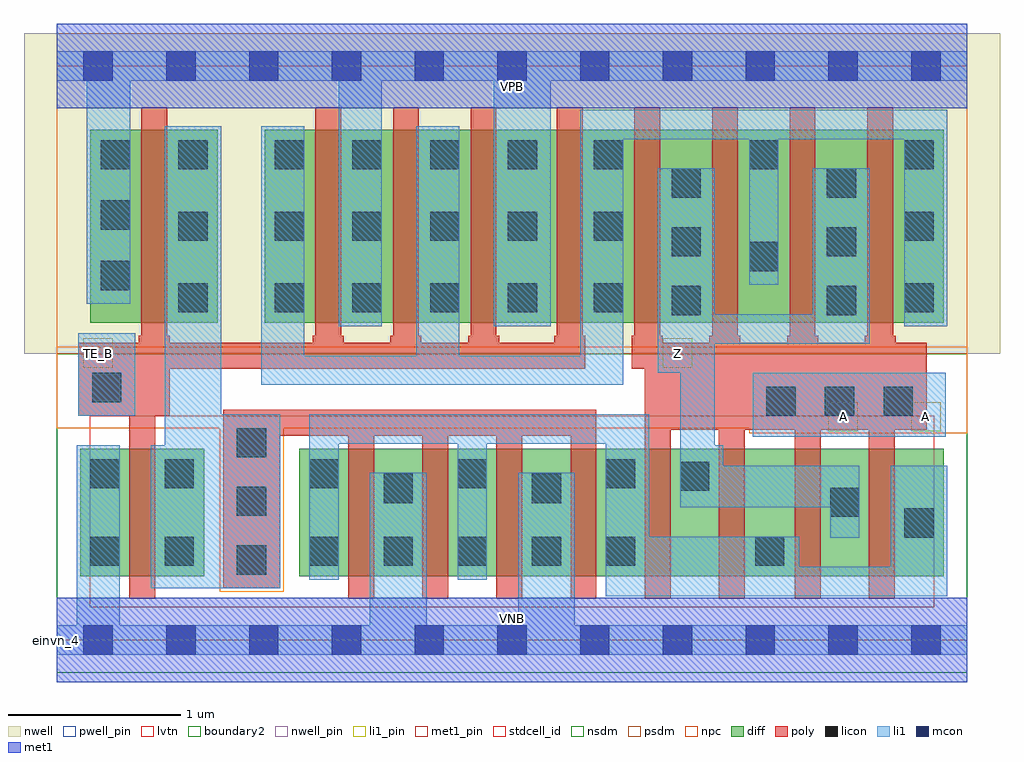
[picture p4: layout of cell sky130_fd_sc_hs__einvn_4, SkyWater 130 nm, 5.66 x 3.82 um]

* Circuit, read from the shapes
.subckt sky130_fd_sc_hs__einvn_4 A TE_B VGND VNB VPB VPWR Z
XM1 n1 TE_B VGND VNB sky130_fd_pr__nfet_01v8_lvt w=0.74 l=0.15
XM2 VGND n1 n2 VNB sky130_fd_pr__nfet_01v8_lvt w=0.74 l=0.15 m=4
XM3 Z A n2 VNB sky130_fd_pr__nfet_01v8_lvt w=0.74 l=0.15 m=4
XM4 n1 TE_B VPWR VPB sky130_fd_pr__pfet_01v8 w=1.12 l=0.15
XM5 VPWR TE_B n3 VPB sky130_fd_pr__pfet_01v8 w=1.12 l=0.15 m=4
XM6 Z A n3 VPB sky130_fd_pr__pfet_01v8 w=1.12 l=0.15 m=4
.ends

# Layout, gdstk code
import gdstk
lib = gdstk.Library(unit=1e-6, precision=1e-09)
def R(c, l, rs):  # rectangles x0, y0, x1, y1
    for r in rs: c.add(gdstk.rectangle(r[:2], r[2:], *l))
def A(c, l, x, y, w, h, nx, ny, dx, dy):  # array of equal rectangles
    R(c, l, [(x+i*dx, y+j*dy, x+i*dx+w, y+j*dy+h) for i in range(nx) for j in range(ny)])
def P(c, l, *ps):  # polygons
    for p in ps: c.add(gdstk.Polygon(p, *l))
nwell_pin = (64, 16)
nwell = (64, 20)
diff = (65, 20)
poly = (66, 20)
licon = (66, 44)
li1_pin = (67, 16)
li1 = (67, 20)
mcon = (67, 44)
met1_pin = (68, 16)
met1 = (68, 20)
stdcell_id = (81, 4)
nsdm = (93, 44)
psdm = (94, 20)
npc = (95, 20)
pwell_pin = (122, 16)
lvtn = (125, 44)
boundary2 = (236, 0)

sky130_fd_sc_hs__einvn_4 = lib.new_cell('sky130_fd_sc_hs__einvn_4')
R(sky130_fd_sc_hs__einvn_4, nwell_pin, [(0,3.085,5.28,3.33)])
R(sky130_fd_sc_hs__einvn_4, nwell, [(-0.19,1.66,5.47,3.52)])
R(sky130_fd_sc_hs__einvn_4, diff, [(0.135,0.37,0.855,1.11), (1.405,0.37,5.145,1.11), (0.195,1.84,0.935,2.96), (1.205,1.84,5.145,2.96)])
P(sky130_fd_sc_hs__einvn_4, poly, [(3.065,1.765),(3.05,1.765),(3.05,3.09),(2.9,3.09),(2.9,1.765),(2.885,1.765),(2.885,1.725),(2.565,1.725),(2.565,1.765),(2.55,1.765),(2.55,3.09),(2.4,3.09),(2.4,1.765),(2.385,1.765),(2.385,1.725),(2.115,1.725),(2.115,1.765),(2.1,1.765),(2.1,3.09),(1.95,3.09),(1.95,1.765),(1.935,1.765),(1.935,1.725),(1.665,1.725),(1.665,1.765),(1.65,1.765),(1.65,3.09),(1.5,3.09),(1.5,1.765),(1.485,1.765),(1.485,1.725),(0.655,1.725),(0.655,1.765),(0.64,1.765),(0.64,3.09),(0.49,3.09),(0.49,1.765),(0.475,1.765),(0.475,1.725),(0.125,1.725),(0.125,1.3),(0.42,1.3),(0.42,0.24),(0.57,0.24),(0.57,1.3),(0.655,1.3),(0.655,1.575),(3.065,1.575)],
  [(3.13,1.335),(0.965,1.335),(0.965,0.3),(1.295,0.3),(1.295,1.185),(1.69,1.185),(1.69,0.24),(1.84,0.24),(1.84,1.185),(2.12,1.185),(2.12,0.24),(2.27,0.24),(2.27,1.185),(2.55,1.185),(2.55,0.24),(2.7,0.24),(2.7,1.185),(2.98,1.185),(2.98,0.24),(3.13,0.24)],
  [(5.045,1.725),(4.865,1.725),(4.865,1.765),(4.85,1.765),(4.85,3.09),(4.7,3.09),(4.7,1.765),(4.685,1.765),(4.685,1.725),(4.415,1.725),(4.415,1.765),(4.4,1.765),(4.4,3.09),(4.25,3.09),(4.25,1.765),(4.235,1.765),(4.235,1.725),(3.965,1.725),(3.965,1.765),(3.95,1.765),(3.95,3.09),(3.8,3.09),(3.8,1.765),(3.785,1.765),(3.785,1.725),(3.515,1.725),(3.515,1.765),(3.5,1.765),(3.5,3.09),(3.35,3.09),(3.35,1.765),(3.335,1.765),(3.335,1.575),(3.41,1.575),(3.41,0.24),(3.56,0.24),(3.56,1.22),(3.84,1.22),(3.84,0.24),(3.99,0.24),(3.99,1.22),(4.28,1.22),(4.28,0.24),(4.43,0.24),(4.43,1.22),(4.71,1.22),(4.71,0.24),(4.86,0.24),(4.86,1.22),(5.045,1.22)])
A(sky130_fd_sc_hs__einvn_4, licon, 1.045, 0.38, 0.17, 0.17, 1, 3, 0, 0.34)
A(sky130_fd_sc_hs__einvn_4, licon, 1.465, 0.43, 0.17, 0.17, 5, 1, 0.43, 0)
A(sky130_fd_sc_hs__einvn_4, licon, 1.465, 0.88, 0.17, 0.17, 3, 1, 0.86, 0)
A(sky130_fd_sc_hs__einvn_4, licon, 4.115, 1.3, 0.17, 0.17, 3, 1, 0.34, 0)
A(sky130_fd_sc_hs__einvn_4, licon, 3.565, 1.885, 0.17, 0.17, 1, 3, 0, 0.34)
A(sky130_fd_sc_hs__einvn_4, licon, 4.465, 1.885, 0.17, 0.17, 1, 3, 0, 0.34)
A(sky130_fd_sc_hs__einvn_4, licon, 0.705, 1.9, 0.17, 0.17, 1, 3, 0, 0.415)
A(sky130_fd_sc_hs__einvn_4, licon, 1.265, 1.9, 0.17, 0.17, 4, 3, 0.45, 0.415)
A(sky130_fd_sc_hs__einvn_4, licon, 0.255, 2.03, 0.17, 0.17, 1, 3, 0, 0.35)
A(sky130_fd_sc_hs__einvn_4, licon, 3.115, 2.73, 0.17, 0.17, 3, 1, 0.9, 0)
R(sky130_fd_sc_hs__einvn_4, licon, [(0.195,0.43,0.365,0.6), (0.625,0.43,0.795,0.6), (4.05,0.43,4.22,0.6), (4.915,0.595,5.085,0.765), (4.485,0.715,4.655,0.885), (1.895,0.795,2.065,0.965), (2.755,0.795,2.925,0.965), (3.615,0.865,3.785,1.035), (0.195,0.88,0.365,1.05), (0.625,0.88,0.795,1.05), (0.205,1.38,0.375,1.55), (3.115,1.9,3.285,2.07), (4.915,1.9,5.085,2.07), (4.015,2.14,4.185,2.31), (3.115,2.315,3.285,2.485), (4.915,2.315,5.085,2.485)])
R(sky130_fd_sc_hs__einvn_4, li1_pin, [(4.475,1.21,4.645,1.38), (4.955,1.21,5.125,1.38), (0.155,1.58,0.325,1.75), (3.515,1.58,3.685,1.75)])
R(sky130_fd_sc_hs__einvn_4, li1, [(4.035,1.18,5.155,1.55), (0.125,1.3,0.455,1.78)])
P(sky130_fd_sc_hs__einvn_4, li1, [(0,-0.085),(0,0.085),(0.115,0.085),(0.115,1.13),(0.365,1.13),(0.365,0.085),(1.815,0.085),(1.815,0.97),(2.145,0.97),(2.145,0.085),(2.675,0.085),(2.675,0.97),(3.005,0.97),(3.005,0.085),(5.28,0.085),(5.28,-0.085)],
  [(0,3.245),(0,3.415),(5.28,3.415),(5.28,3.245),(2.865,3.245),(2.865,1.82),(2.535,1.82),(2.535,3.245),(1.885,3.245),(1.885,1.82),(1.635,1.82),(1.635,3.245),(0.425,3.245),(0.425,1.95),(0.175,1.95),(0.175,3.245)],
  [(4.915,2.905),(4.185,2.905),(4.185,2.06),(4.015,2.06),(4.015,2.905),(3.285,2.905),(3.285,1.48),(1.185,1.48),(1.185,2.98),(1.435,2.98),(1.435,1.65),(2.085,1.65),(2.085,2.98),(2.335,2.98),(2.335,1.65),(3.035,1.65),(3.035,3.075),(5.165,3.075),(5.165,1.82),(4.915,1.82)],
  [(0.955,1.31),(1.295,1.31),(1.295,0.3),(0.545,0.3),(0.545,1.13),(0.625,1.13),(0.625,2.98),(0.955,2.98)],
  [(4.305,0.425),(4.835,0.425),(4.835,1.01),(5.165,1.01),(5.165,0.255),(3.185,0.255),(3.185,1.14),(2.495,1.14),(2.495,0.35),(2.325,0.35),(2.325,1.14),(1.635,1.14),(1.635,0.35),(1.465,0.35),(1.465,1.31),(3.435,1.31),(3.435,0.6),(4.305,0.6)],
  [(3.615,1.55),(3.485,1.55),(3.485,2.735),(3.815,2.735),(3.815,1.89),(4.385,1.89),(4.385,2.735),(4.715,2.735),(4.715,1.72),(3.815,1.72),(3.815,1.13),(3.865,1.13),(3.865,1.01),(4.655,1.01),(4.655,0.595),(4.485,0.595),(4.485,0.77),(3.615,0.77)])
A(sky130_fd_sc_hs__einvn_4, mcon, 0.155, -0.085, 0.17, 0.17, 11, 2, 0.48, 3.33)
R(sky130_fd_sc_hs__einvn_4, met1_pin, [(0,0,5.28,0.245), (0,3.085,5.28,3.33)])
R(sky130_fd_sc_hs__einvn_4, met1, [(0,-0.245,5.28,0.245), (0,3.085,5.28,3.575)])
R(sky130_fd_sc_hs__einvn_4, stdcell_id, [(0,0,5.28,3.33)])
R(sky130_fd_sc_hs__einvn_4, nsdm, [(0,-0.19,5.28,1.66)])
R(sky130_fd_sc_hs__einvn_4, psdm, [(0,1.66,5.28,3.52)])
P(sky130_fd_sc_hs__einvn_4, npc, [(5.28,1.7),(0,1.7),(0,1.23),(0.945,1.23),(0.945,0.28),(1.315,0.28),(1.315,1.23),(4.015,1.23),(4.015,1.2),(5.28,1.2)])
R(sky130_fd_sc_hs__einvn_4, pwell_pin, [(0,0,5.28,0.245)])
R(sky130_fd_sc_hs__einvn_4, lvtn, [(0.19,0.19,5.09,1.3)])
R(sky130_fd_sc_hs__einvn_4, boundary2, [(0,0,5.28,3.33)])
sky130_fd_sc_hs__einvn_4.add(gdstk.Label('einvn_4', (0,0), layer=83, texttype=44))
sky130_fd_sc_hs__einvn_4.add(gdstk.Label('VNB', (2.64,0.123), layer=64, texttype=59))
sky130_fd_sc_hs__einvn_4.add(gdstk.Label('VPB', (2.64,3.208), layer=64, texttype=5))
sky130_fd_sc_hs__einvn_4.add(gdstk.Label('VPWR', (2.64,3.208), layer=68, texttype=5))
sky130_fd_sc_hs__einvn_4.add(gdstk.Label('VGND', (2.64,0.123), layer=68, texttype=5))
sky130_fd_sc_hs__einvn_4.add(gdstk.Label('TE_B', (0.24,1.665), layer=67, texttype=5))
sky130_fd_sc_hs__einvn_4.add(gdstk.Label('A', (4.56,1.295), layer=67, texttype=5))
sky130_fd_sc_hs__einvn_4.add(gdstk.Label('A', (5.04,1.295), layer=67, texttype=5))
sky130_fd_sc_hs__einvn_4.add(gdstk.Label('Z', (3.6,1.665), layer=67, texttype=5))

lib.write_gds('sky130_fd_sc_hs__einvn_4.gds')
